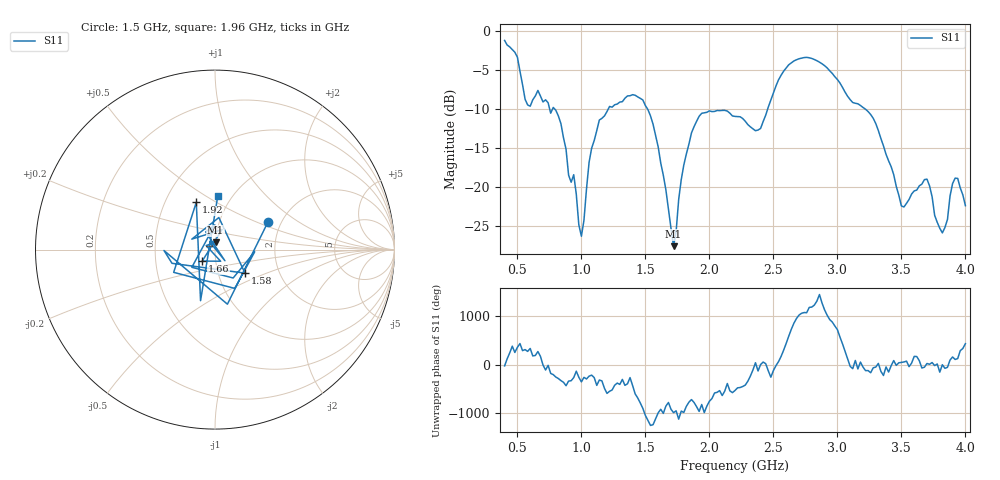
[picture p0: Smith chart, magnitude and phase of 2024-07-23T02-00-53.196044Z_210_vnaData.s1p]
!Created with skrf (http://scikit-rf.org).
# Hz S RI R 50.0
!freq ReS11 ImS11
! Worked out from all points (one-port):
!   181 points, 400 MHz to 4 GHz, reference 50 ohm
!   lowest |S11| = -27.6 dB at 1.72 GHz (marker M1), VSWR 1.09, Z = 50.1 + j4.18 ohm
!   |S11| at or under -10 dB: 789.3 MHz to 1.211 GHz (421.6 MHz wide, 42.2 % of centre); 1.515 GHz to 2.456 GHz (940.6 MHz wide, 47.4 % of centre); 3.214 GHz to end of sweep (the widest 3 of 4)
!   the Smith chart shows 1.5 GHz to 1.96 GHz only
!   S11 on the Smith chart (normalised r, x): 1.5 GHz: 1.71, +0.58; 1.58 GHz: 1.34, -0.37; 1.66 GHz: 0.86, -0.11; 1.92 GHz: 0.71, +0.41; 1.96 GHz: 0.86, +0.56
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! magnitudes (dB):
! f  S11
! 400 MHz  -1.3
! 500 MHz  -3.4
! 580 MHz  -9.5
! 660 MHz  -7.7
! 860 MHz  -13.7
! 940 MHz  -18.4
! 1 GHz  -26.3
! 1.06 GHz  -16.9
! 1.14 GHz  -11.4
! 1.3 GHz  -9.1
! 1.5 GHz  -9.6
! 1.58 GHz  -13.5
! 1.66 GHz  -20.4
! 1.72 GHz  -27.6
! 1.76 GHz  -21.6
! 1.92 GHz  -11.0
! 1.96 GHz  -10.5
! 2.2 GHz  -11.0
! 2.4 GHz  -12.5
! 2.66 GHz  -3.9
! 3.1 GHz  -8.8
! 3.28 GHz  -11.2
! 3.5 GHz  -22.4
! 3.56 GHz  -21.6
! 3.7 GHz  -19.0
! 3.82 GHz  -25.9
! 3.92 GHz  -18.9
! 4 GHz  -22.4
